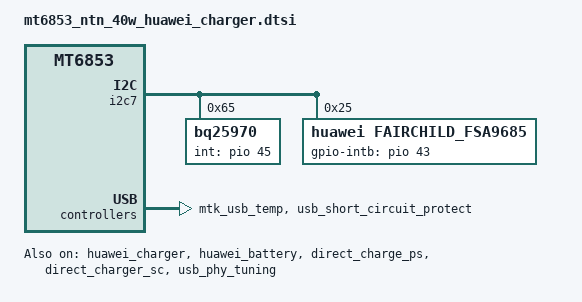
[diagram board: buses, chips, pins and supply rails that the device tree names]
&charger {
	ac_charger_current = <2500000>;
	ac_charger_input_current = <2200000>;
	fcp_charger_current = <2500000>;
	fcp_charger_input_current = <1400000>;
	non_std_ac_charger_current = <1200000>;
	pd_vbus_upper_bound = <10000000>;
	max_charger_voltage = <12000000>;
	bc12_charger = <22>; /* usb switch do bc12 */
	dpm_enable;
	battery_cv = <4430000>;
	iterm = <150000>;
	vbus_max_limit = <11500>;
	jeita_temp_above_t4_cv = <4100000>;
	jeita_temp_t3_to_t4_cv = <4100000>;
	jeita_temp_t2_to_t3_cv = <4430000>;
	jeita_temp_t1_to_t2_cv = <4430000>;
	jeita_temp_t0_to_t1_cv = <4430000>;
	jeita_temp_below_t0_cv = <4100000>;
	jeita_temp_t3_to_t4_cur = <1400000>;
	jeita_temp_t2_to_t3_cur = <2870000>;
	jeita_temp_t1_to_t2_cur = <1200000>;
	jeita_temp_t0_to_t1_cur = <400000>;
	vdpm_buf_limit = <100>;
	vdpm_para =
			"-32767", "4000", "4300", "50",
			"4000", "4200", "4500", "50",
			"4200", "32767", "4600", "50";
	charge_full_design = <4000000>;
};

&pio {
	bq25970_irq_pins_default: bq25970_irq_pins_default {
		pins_cmd_dat {
			pinmux = <PINMUX_GPIO45__FUNC_GPIO45>;
			slew-rate = <0>;
			bias-pull-up;
		};
	};
	fsa9685_irq_pins_default: fsa9685_irq_pins_default {
		pins_cmd_dat {
			pinmux = <PINMUX_GPIO43__FUNC_GPIO43>;
			slew-rate = <0>;
			bias-pull-up;
		};
	};
};

&i2c7 {
	bq25970@65 {
		compatible = "bq25970";
		pinctrl-names = "default";
		pinctrl-0 = <&bq25970_irq_pins_default>;
		gpio_int = <&pio 45 0x0>;
		switching_frequency = <675>;
		sense_r_config = <20>;
		sense_r_actual = <20>;
		reg = <0x65>;
		status = "ok";
	};
	fairchild_fsa9685@25 {
		compatible = "huawei,fairchild_fsa9685";
		reg = <0x25>;
		pinctrl-names = "default";
		pinctrl-0 = <&fsa9685_irq_pins_default>;
		fairchild_fsa9685,gpio-intb = <&pio 43 0x0>;
		fcp_support = <1>;
		scp_support = <1>;
		power_by_5v = <1>;
		close_bc12 = <1>;
		/* for rt8979 */
		interrupt-names = "vbus_change", "device_change", "detach",
			"attach";
		/* auto_switch; */
		scp;
		dcd;
		dcd_timeout = <600>;  /* ms */
		intb_watchdog = <1000>;  /* ms */
		ovp_sel = <14500000>;  /* uV */
		status = "ok";
	};
};

&huawei_charger {
	compatible = "huawei,charger";
	status = "okay";
};

&huawei_battery {
	compatible = "huawei,battery";
	voltage_max_design = <4430000>;
	status = "okay";
};

&lk_charger{
	ac_charger_current = <1050000>;
	ac_charger_input_current = <1050000>;
	non_std_ac_charger_current = <1050000>;
	max_charger_voltage = <12000000>;
	is_power_path;
};

&direct_charge_ps {
	status = "ok";
};

&direct_charger {
	use_5A = <1>;
	volt_para =
		"4420", "2800", "1200";
	compensate_r = <20>;
	cc_cable_detect_enable = <1>;
	high_temp_hysteresis = <1>;
	full_path_res_max = <500>;
	super_ico_current = <2400>;
	scp_work_on_charger = <1>;
	standard_cable_full_path_res_max = <500>;
	first_cc_stage_timer_in_min = <0>;
	stage_need_to_jump = "1";
	is_show_ico_first = <1>;
	is_send_cable_type = <0>;
	temp_para =
		"-32767", "10", "0",
		"10", "45", "2800",
		"45", "32767", "0";
	status = "disable";
};

&direct_charger_sc {
	use_8A = <1>;
	dc_volt_ratio = <2>;
	max_adaptor_vset = <10000>;
	init_adapter_vset = <8800>;
	delta_err_10v2p25a = <150>;
	delta_err_10v4a = <300>;
	vol_err_th = <300>;
	adaptor_leakage_current_th = <600>;
	vstep = <20>;
	high_temp_hysteresis = <1>;
	gain_curr_10v2a = <300>;
	gain_curr_10v2p25a = <500>;
	init_delt_vset = <450>;
	max_dc_bat_vol = <4380>;
	max_current_for_none_standard_cable = <6000>;
	adaptor_antifake_check_enable = <0>;
	adaptor_antifake_key_index = <2>;
	ui_max_pwr = <40000>;
	volt_para =
		"4250", "8000", "6000",
		"4350", "6000", "5200",
		"4380", "5200", "4000",
		"4430", "4000", "1200";
	compensate_r = <8>;
	cc_cable_detect_enable = <1>;
	full_path_res_max = <500>;
	scp_work_on_charger = <1>;
	standard_cable_full_path_res_max = <500>;
	first_cc_stage_timer_in_min = <10>;
	stage_need_to_jump = "-1";
	is_show_ico_first = <1>;
	is_send_cable_type = <0>;
	temp_para =
		"-32767", "10", "0",
		"10", "45", "8000",
		"45", "32767", "0";
	resist_para =
		"0", "300", "6000",
		"300", "500", "4000";
	std_resist_para =
		"0", "300", "8000",
		"300", "500", "4000";
	10v2p25a_cur_para =
		"-32767", "5500",  "2000",
		"5500",   "9000",  "2500",
		"9000",   "10000", "2250",
		"10000",  "10500", "2000",
		"10500",  "32767", "1500";
	status = "ok";
};

&bat_gm30 {
	bat_para =
		"BIT_CAE", "240000", "340000",
		"BCY_CAE", "1140000", "1310000";
	ntc_compensation_is = <0>;
	ntc_temp_compensation_para =
		"7000", "60",
		"6000", "50",
		"4000", "40",
		"2000", "30",
		"1000", "20";
	min_fcc = <2800000>;
	max_fcc = <4000000>;
	g_FG_PSEUDO100_T0 = <(97)>;
	g_FG_PSEUDO100_T1 = <(97)>;
	g_FG_PSEUDO100_T2 = <(97)>;
	g_FG_PSEUDO100_T3 = <(97)>;
	g_FG_PSEUDO100_T4 = <(97)>;
	dlpt_optimization;
	CAR_TUNE_VALUE = <(250)>;
	#include "BIT_CAE_4v40_4200mah_40w_ext.dtsi"
	#include "BCY_CAE_4v40_4200mah_40w_ext.dtsi"
};

&usb_c_pinctrl {
	status = "disabled";
};

&mt6360_pmu {
	mt6360,intr_gpio_num = <10>; /* direct defined GPIO num */
	mt6360,intr_gpio = <&pio 10 0x0>;
};

&mt6360_typec {
	mt6360pd,intr_gpio_num = <9>; /* direct defined GPIO num */
	mt6360pd,intr_gpio = <&pio 9 0x0>;
};

&mtk_usb_temp {
	status = "ok";
};

&usb_short_circuit_protect {
	status = "ok";
};

&usb_phy_tuning {
	h_u2_vrt_ref = <6>;
	h_u2_term_ref = <6>;
	h_u2_enhance = <2>;
	d_u2_vrt_ref = <6>;
	d_u2_term_ref = <6>;
	d_u2_enhance = <1>;
	status = "ok";
};

